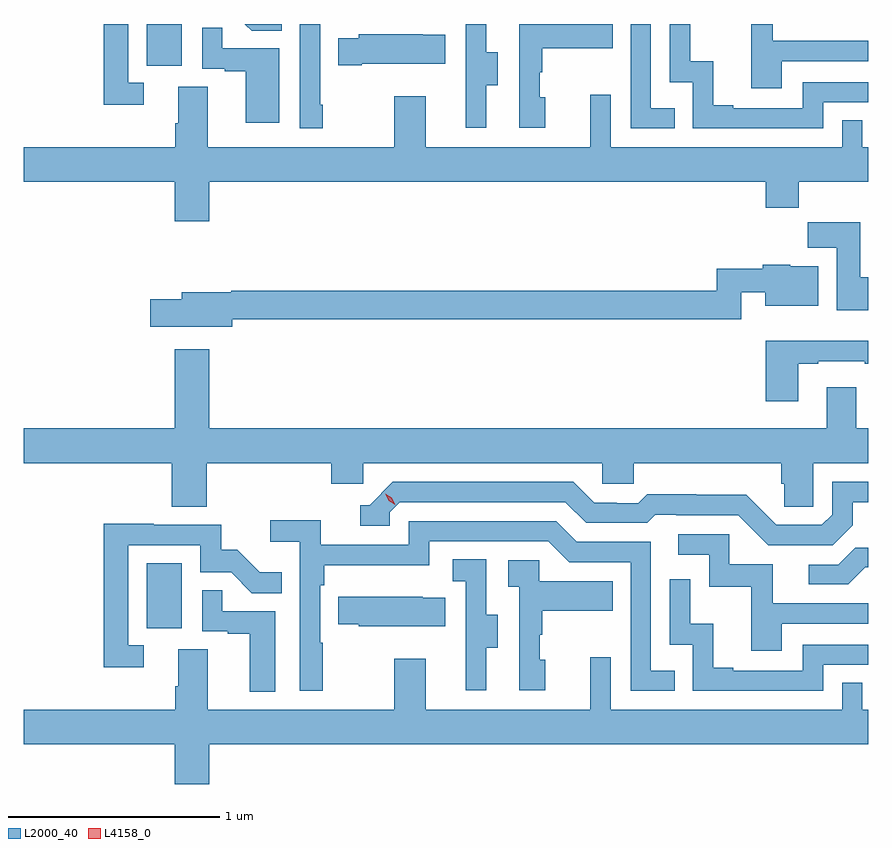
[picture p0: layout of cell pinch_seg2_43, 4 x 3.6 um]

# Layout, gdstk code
import gdstk
lib = gdstk.Library(unit=1e-6, precision=1e-09)
def R(c, l, rs):  # rectangles x0, y0, x1, y1
    for r in rs: c.add(gdstk.rectangle(r[:2], r[2:], *l))
def P(c, l, *ps):  # polygons
    for p in ps: c.add(gdstk.Polygon(p, *l))
L2000_40 = (2000, 40)
L4158_0 = (4158, 0)

pinch_seg2_43 = lib.new_cell('pinch_seg2_43')
R(pinch_seg2_43, L2000_40, [(1141.898,649.518,1142.062,649.825), (1141.898,652.182,1142.062,652.379)])
P(pinch_seg2_43, L2000_40, [(1142.537,652.379),(1142.362,652.379),(1142.393,652.348),(1142.537,652.348)],
  [(1141.882,652.101),(1141.809,652.101),(1141.809,652.379),(1141.693,652.379),(1141.693,651.996),(1141.882,651.996)],
  [(1145.1,652.008),(1145.314,652.008),(1145.314,652.104),(1145.004,652.104),(1145.004,651.981),(1144.675,651.981),(1144.675,651.994),(1144.58,651.994),(1144.58,652.202),(1144.47,652.202),(1144.47,652.379),(1144.374,652.379),(1144.374,652.104),(1144.482,652.104),(1144.482,651.885),(1145.1,651.885)],
  [(1143.505,652.09),(1143.559,652.09),(1143.559,652.245),(1143.504,652.245),(1143.504,652.379),(1143.408,652.379),(1143.408,652.101),(1143.407,652.101),(1143.407,651.888),(1143.505,651.888)],
  [(1143.784,652.032),(1143.759,652.032),(1143.759,652.151),(1143.769,652.151),(1143.769,652.265),(1144.103,652.265),(1144.103,652.379),(1143.66,652.379),(1143.66,651.888),(1143.784,651.888)],
  [(1144.397,651.981),(1144.284,651.981),(1144.284,652.379),(1144.188,652.379),(1144.188,651.885),(1144.397,651.885)],
  [(1142.731,651.997),(1142.718,651.997),(1142.718,652.379),(1142.622,652.379),(1142.622,651.885),(1142.731,651.885)],
  [(1144.903,652.203),(1145.314,652.203),(1145.314,652.299),(1144.861,652.299),(1144.861,652.379),(1144.56,652.379),(1144.56,652.377),(1144.759,652.377),(1144.759,652.074),(1144.903,652.074)],
  [(1142.524,652.263),(1142.255,652.263),(1142.255,652.361),(1142.16,652.361),(1142.16,652.167),(1142.267,652.167),(1142.267,652.155),(1142.366,652.155),(1142.366,651.912),(1142.524,651.912)],
  [(1142.914,652.19),(1143.311,652.19),(1143.311,652.327),(1143.203,652.327),(1143.203,652.33),(1142.901,652.33),(1142.901,652.312),(1142.803,652.312),(1142.803,652.183),(1142.914,652.183)],
  [(1142.194,651.632),(1144.829,651.632),(1144.829,651.508),(1144.985,651.508),(1144.985,651.632),(1145.314,651.632),(1145.314,651.796),(1145.286,651.796),(1145.286,651.923),(1145.19,651.923),(1145.19,651.796),(1144.095,651.796),(1144.095,652.045),(1143.998,652.045),(1143.998,651.796),(1143.217,651.796),(1143.217,652.036),(1143.07,652.036),(1143.07,651.796),(1142.185,651.796),(1142.185,652.082),(1142.045,652.082),(1142.045,651.908),(1142.033,651.908),(1142.033,651.796),(1141.314,651.796),(1141.314,651.632),(1142.03,651.632),(1142.03,651.444),(1142.194,651.444)],
  [(1145.314,651.18),(1145.275,651.18),(1145.275,651.439),(1145.026,651.439),(1145.026,651.32),(1145.165,651.32),(1145.165,651.024),(1145.314,651.024)],
  [(1142.302,650.98),(1144.713,650.98),(1144.713,651.109),(1144.826,651.109),(1144.826,651.044),(1145.077,651.044),(1145.077,651.232),(1144.944,651.232),(1144.944,651.238),(1144.814,651.238),(1144.814,651.22),(1144.597,651.22),(1144.597,651.116),(1142.298,651.116),(1142.298,651.109),(1142.063,651.109),(1142.063,651.075),(1141.914,651.075),(1141.914,650.945),(1142.302,650.945)],
  [(1144.981,650.769),(1145.077,650.769),(1145.077,650.781),(1145.297,650.781),(1145.297,650.769),(1145.314,650.769),(1145.314,650.878),(1144.829,650.878),(1144.829,650.592),(1144.981,650.592)],
  [(1142.18,650.3),(1142.771,650.3),(1142.771,650.202),(1142.922,650.202),(1142.922,650.3),(1144.053,650.3),(1144.053,650.202),(1144.203,650.202),(1144.203,650.3),(1144.901,650.3),(1144.901,650.202),(1144.915,650.202),(1144.915,650.092),(1145.052,650.092),(1145.052,650.3),(1145.314,650.3),(1145.314,650.464),(1145.257,650.464),(1145.257,650.659),(1145.117,650.659),(1145.117,650.464),(1142.194,650.464),(1142.194,650.839),(1142.03,650.839),(1142.03,650.464),(1141.314,650.464),(1141.314,650.3),(1142.015,650.3),(1142.015,650.092),(1142.18,650.092)],
  [(1145.239,650.005),(1145.239,650.115),(1145.314,650.115),(1145.314,650.211),(1145.142,650.211),(1145.142,650.055),(1145.094,650.007),(1144.878,650.007),(1144.736,650.149),(1144.5,650.149),(1144.5,650.152),(1144.267,650.152),(1144.225,650.109),(1144.122,650.109),(1144.122,650.112),(1144.015,650.112),(1143.916,650.211),(1143.063,650.211),(1142.952,650.1),(1142.909,650.1),(1142.909,650.004),(1143.048,650.004),(1143.048,650.067),(1143.096,650.115),(1143.879,650.115),(1143.978,650.016),(1144.267,650.016),(1144.306,650.055),(1144.405,650.055),(1144.405,650.052),(1144.698,650.052),(1144.839,649.911),(1145.145,649.911)],
  [(1142.731,649.448),(1142.718,649.448),(1142.718,649.721),(1142.738,649.721),(1142.738,649.817),(1143.234,649.817),(1143.234,649.929),(1143.798,649.929),(1143.897,649.83),(1144.188,649.83),(1144.188,649.221),(1144.397,649.221),(1144.397,649.317),(1144.284,649.317),(1144.284,649.926),(1143.934,649.926),(1143.835,650.025),(1143.138,650.025),(1143.138,649.914),(1142.72,649.914),(1142.72,650.03),(1142.481,650.03),(1142.481,649.928),(1142.622,649.928),(1142.622,649.221),(1142.731,649.221)],
  [(1141.882,649.437),(1141.809,649.437),(1141.809,649.911),(1142.151,649.911),(1142.151,649.782),(1142.296,649.782),(1142.394,649.684),(1142.537,649.684),(1142.537,649.783),(1142.433,649.783),(1142.326,649.89),(1142.25,649.89),(1142.25,650.007),(1141.931,650.007),(1141.931,650.012),(1141.693,650.012),(1141.693,649.332),(1141.882,649.332)],
  [(1144.903,649.539),(1145.314,649.539),(1145.314,649.635),(1144.861,649.635),(1144.861,649.821),(1144.656,649.821),(1144.656,649.962),(1144.413,649.962),(1144.413,649.866),(1144.56,649.866),(1144.56,649.713),(1144.759,649.713),(1144.759,649.41),(1144.903,649.41)],
  [(1145.299,649.806),(1145.314,649.806),(1145.314,649.898),(1145.252,649.898),(1145.172,649.818),(1145.031,649.818),(1145.031,649.725),(1145.218,649.725)],
  [(1143.505,649.426),(1143.559,649.426),(1143.559,649.581),(1143.504,649.581),(1143.504,649.844),(1143.345,649.844),(1143.345,649.741),(1143.408,649.741),(1143.408,649.437),(1143.407,649.437),(1143.407,649.224),(1143.505,649.224)],
  [(1143.784,649.368),(1143.759,649.368),(1143.759,649.487),(1143.769,649.487),(1143.769,649.601),(1144.103,649.601),(1144.103,649.741),(1143.756,649.741),(1143.756,649.839),(1143.609,649.839),(1143.609,649.715),(1143.66,649.715),(1143.66,649.224),(1143.784,649.224)],
  [(1145.1,649.344),(1145.314,649.344),(1145.314,649.44),(1145.004,649.44),(1145.004,649.317),(1144.675,649.317),(1144.675,649.33),(1144.58,649.33),(1144.58,649.538),(1144.47,649.538),(1144.47,649.75),(1144.374,649.75),(1144.374,649.44),(1144.482,649.44),(1144.482,649.221),(1145.1,649.221)],
  [(1142.506,649.599),(1142.255,649.599),(1142.255,649.697),(1142.16,649.697),(1142.16,649.503),(1142.281,649.503),(1142.281,649.491),(1142.384,649.491),(1142.384,649.217),(1142.506,649.217)],
  [(1143.311,649.663),(1143.203,649.663),(1143.203,649.666),(1142.803,649.666),(1142.803,649.537),(1142.901,649.537),(1142.901,649.526),(1143.311,649.526)],
  [(1142.194,648.968),(1145.314,648.968),(1145.314,649.132),(1145.286,649.132),(1145.286,649.259),(1145.19,649.259),(1145.19,649.132),(1144.095,649.132),(1144.095,649.381),(1143.998,649.381),(1143.998,649.132),(1143.217,649.132),(1143.217,649.372),(1143.07,649.372),(1143.07,649.132),(1142.185,649.132),(1142.185,649.418),(1142.045,649.418),(1142.045,649.244),(1142.033,649.244),(1142.033,649.132),(1141.314,649.132),(1141.314,648.968),(1142.03,648.968),(1142.03,648.78),(1142.194,648.78)])
P(pinch_seg2_43, L4158_0, [(1143.073,650.102),(1143.042,650.122),(1143.027,650.154),(1143.027,650.155),(1143.027,650.155),(1143.057,650.135),(1143.073,650.102),(1143.073,650.102)])

lib.write_gds('pinch_seg2_43.gds')
